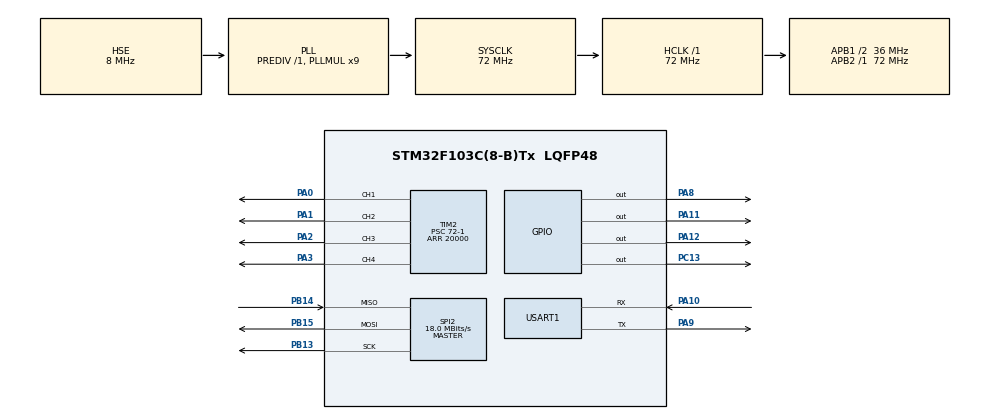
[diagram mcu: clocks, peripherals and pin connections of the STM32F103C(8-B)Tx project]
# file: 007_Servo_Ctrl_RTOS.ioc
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FREERTOS.Queues01=UART2PWM,16,uint16_t,0,Dynamic,NULL,NULL
FREERTOS.Tasks01=defaultTask,0,128,StartDefaultTask,Default,NULL,Dynamic,NULL,NULL;UART_Task,0,128,Start_UART_Task,Default,NULL,Dynamic,NULL,NULL;Servo_Task,2,128,Start_Servo_Task,Default,NULL,Dynamic,NULL,NULL
Mcu.Family=STM32F1
Mcu.Name=STM32F103C(8-B)Tx
Mcu.Package=LQFP48
NVIC.PriorityGroup=NVIC_PRIORITYGROUP_4
NVIC.TIM1_UP_IRQn=true\:15\:0\:false\:false\:true\:false\:false\:true\:true
NVIC.TimeBase=TIM1_UP_IRQn
NVIC.TimeBaseIP=TIM1
NVIC.USART1_IRQn=true\:5\:0\:false\:false\:true\:true\:true\:true\:true
PA0-WKUP.Signal=S_TIM2_CH1_ETR
PA1.Signal=S_TIM2_CH2
PA10.Mode=Asynchronous
PA10.Signal=USART1_RX
PA11.Signal=GPIO_Output
PA12.Signal=GPIO_Output
PA13.Mode=Serial_Wire
PA13.Signal=SYS_JTMS-SWDIO
PA14.Mode=Serial_Wire
PA14.Signal=SYS_JTCK-SWCLK
PA2.Signal=S_TIM2_CH3
PA3.Signal=S_TIM2_CH4
PA8.Signal=GPIO_Output
PA9.Mode=Asynchronous
PA9.Signal=USART1_TX
PB13.Mode=Full_Duplex_Master
PB13.Signal=SPI2_SCK
PB14.Mode=Full_Duplex_Master
PB14.Signal=SPI2_MISO
PB15.Mode=Full_Duplex_Master
PB15.Signal=SPI2_MOSI
PC13-TAMPER-RTC.Signal=GPIO_Output
PD0-OSC_IN.Mode=HSE-External-Oscillator
PD0-OSC_IN.Signal=RCC_OSC_IN
PD1-OSC_OUT.Mode=HSE-External-Oscillator
PD1-OSC_OUT.Signal=RCC_OSC_OUT
ProjectManager.HeapSize=0x200
ProjectManager.StackSize=0x400
ProjectManager.TargetToolchain=MDK-ARM V5.32
RCC.AHBFreq_Value=72000000
RCC.APB1CLKDivider=RCC_HCLK_DIV2
RCC.APB1Freq_Value=36000000
RCC.APB1TimFreq_Value=72000000
RCC.APB2Freq_Value=72000000
RCC.APB2TimFreq_Value=72000000
RCC.HCLKFreq_Value=72000000
RCC.PLLMUL=RCC_PLL_MUL9
RCC.PLLSourceVirtual=RCC_PLLSOURCE_HSE
RCC.SYSCLKFreq_VALUE=72000000
RCC.SYSCLKSource=RCC_SYSCLKSOURCE_PLLCLK
RCC.USBFreq_Value=72000000
SH.S_TIM2_CH1_ETR.0=TIM2_CH1,PWM Generation1 CH1
SH.S_TIM2_CH2.0=TIM2_CH2,PWM Generation2 CH2
SH.S_TIM2_CH3.0=TIM2_CH3,PWM Generation3 CH3
SH.S_TIM2_CH4.0=TIM2_CH4,PWM Generation4 CH4
SPI2.CalculateBaudRate=18.0 MBits/s
SPI2.Direction=SPI_DIRECTION_2LINES
SPI2.Mode=SPI_MODE_MASTER
SPI2.VirtualType=VM_MASTER
TIM2.Channel-PWM\ Generation1\ CH1=TIM_CHANNEL_1
TIM2.Channel-PWM\ Generation2\ CH2=TIM_CHANNEL_2
TIM2.Channel-PWM\ Generation3\ CH3=TIM_CHANNEL_3
TIM2.Channel-PWM\ Generation4\ CH4=TIM_CHANNEL_4
TIM2.Period=20000
TIM2.Prescaler=72-1
USART1.VirtualMode=VM_ASYNC
VP_FREERTOS_VS_CMSIS_V1.Mode=CMSIS_V1
VP_SYS_VS_tim1.Mode=TIM1
board=custom

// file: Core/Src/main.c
/* USER CODE BEGIN Header */
/**
  ******************************************************************************
  * @file           : main.c
  * @brief          : Main program body
  ******************************************************************************
  * @attention
  *
  * Copyright (c) 2023 STMicroelectronics.
  * All rights reserved.
  *
  * This software is licensed under terms that can be found in the LICENSE file
  * in the root directory of this software component.
  * If no LICENSE file comes with this software, it is provided AS-IS.
  *
  ******************************************************************************
  */
/* USER CODE END Header */
#include "main.h"
#include "cmsis_os.h"
#include "spi.h"
#include "tim.h"
#include "usart.h"
#include "gpio.h"

/* USER CODE BEGIN Includes */
#include <servo.h>
#include <nrf24l01.h>
/* USER CODE END Includes */

void SystemClock_Config(void);
void MX_FREERTOS_Init(void);

/* USER CODE BEGIN 0 */
uint8_t servos[14];
/* USER CODE END 0 */

int main(void)
{

  /* MCU Configuration--------------------------------------------------------*/

  /* Reset of all peripherals, Initializes the Flash interface and the Systick. */
  HAL_Init();

  /* Configure the system clock */
  SystemClock_Config();

  /* Initialize all configured peripherals */
  MX_GPIO_Init();
  MX_TIM2_Init();
  MX_USART1_UART_Init();
  MX_SPI2_Init();
  /* USER CODE BEGIN 2 */

	NRF24L01_Init();

	NRF24L01_RX_Mode();

	HAL_TIM_PWM_Start (&htim2,TIM_CHANNEL_1);
	HAL_TIM_PWM_Start (&htim2,TIM_CHANNEL_2);
	HAL_TIM_PWM_Start (&htim2,TIM_CHANNEL_3);
	HAL_TIM_PWM_Start (&htim2,TIM_CHANNEL_4);

	Servo_init();

	HAL_UART_Receive_IT(&huart1, servos,14);
  /* USER CODE END 2 */

  /* Call init function for freertos objects (in freertos.c) */
  MX_FREERTOS_Init();

  /* Start scheduler */
  osKernelStart();
  /* We should never get here as control is now taken by the scheduler */
  /* Infinite loop */
  while (1)
  {

  }
}

void SystemClock_Config(void)
{
  RCC_OscInitTypeDef RCC_OscInitStruct = {0};
  RCC_ClkInitTypeDef RCC_ClkInitStruct = {0};

  /** Initializes the RCC Oscillators according to the specified parameters
  * in the RCC_OscInitTypeDef structure.
  */
  RCC_OscInitStruct.OscillatorType = RCC_OSCILLATORTYPE_HSE;
  RCC_OscInitStruct.HSEState = RCC_HSE_ON;
  RCC_OscInitStruct.HSEPredivValue = RCC_HSE_PREDIV_DIV1;
  RCC_OscInitStruct.HSIState = RCC_HSI_ON;
  RCC_OscInitStruct.PLL.PLLState = RCC_PLL_ON;
  RCC_OscInitStruct.PLL.PLLSource = RCC_PLLSOURCE_HSE;
  RCC_OscInitStruct.PLL.PLLMUL = RCC_PLL_MUL9;
  if (HAL_RCC_OscConfig(&RCC_OscInitStruct) != HAL_OK)
  {
    Error_Handler();
  }

  /** Initializes the CPU, AHB and APB buses clocks
  */
  RCC_ClkInitStruct.ClockType = RCC_CLOCKTYPE_HCLK|RCC_CLOCKTYPE_SYSCLK
                              |RCC_CLOCKTYPE_PCLK1|RCC_CLOCKTYPE_PCLK2;
  RCC_ClkInitStruct.SYSCLKSource = RCC_SYSCLKSOURCE_PLLCLK;
  RCC_ClkInitStruct.AHBCLKDivider = RCC_SYSCLK_DIV1;
  RCC_ClkInitStruct.APB1CLKDivider = RCC_HCLK_DIV2;
  RCC_ClkInitStruct.APB2CLKDivider = RCC_HCLK_DIV1;

  if (HAL_RCC_ClockConfig(&RCC_ClkInitStruct, FLASH_LATENCY_2) != HAL_OK)
  {
    Error_Handler();
  }
}

void HAL_TIM_PeriodElapsedCallback(TIM_HandleTypeDef *htim)
{
  if (htim->Instance == TIM1) {
    HAL_IncTick();
  }
}

void Error_Handler(void)
{
  __disable_irq();
  while (1)
  {
  }
}

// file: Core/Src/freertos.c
/* USER CODE BEGIN Header */
/**
  ******************************************************************************
  * File Name          : freertos.c
  * Description        : Code for freertos applications
  ******************************************************************************
  * @attention
  *
  * Copyright (c) 2023 STMicroelectronics.
  * All rights reserved.
  *
  * This software is licensed under terms that can be found in the LICENSE file
  * in the root directory of this software component.
  * If no LICENSE file comes with this software, it is provided AS-IS.
  *
  ******************************************************************************
  */
/* USER CODE END Header */

#include "FreeRTOS.h"
#include "task.h"
#include "main.h"
#include "cmsis_os.h"

/* USER CODE BEGIN Includes */
#include "servo.h"
#include "nrf24l01.h"
#include "string.h"
/* USER CODE END Includes */

/* USER CODE BEGIN PM */
uint8_t tmp_buf[33];

typedef struct{

	uint16_t rocker[3];
	uint8_t button;
	int16_t pitch;
	int16_t yaw;
	uint8_t servos[14];
	uint8_t reserve[8];

}remote_Rx_t ;

remote_Rx_t remote;
/* USER CODE END PM */

/* USER CODE BEGIN Variables */
extern uint8_t servos[14];
/* USER CODE END Variables */
osThreadId defaultTaskHandle;
osThreadId UART_TaskHandle;
osThreadId Servo_TaskHandle;
osMessageQId UART2PWMHandle;

void StartDefaultTask(void const * argument);
void Start_UART_Task(void const * argument);
void Start_Servo_Task(void const * argument);

void MX_FREERTOS_Init(void); /* (MISRA C 2004 rule 8.1) */

/* GetIdleTaskMemory prototype (linked to static allocation support) */
void vApplicationGetIdleTaskMemory( StaticTask_t **ppxIdleTaskTCBBuffer, StackType_t **ppxIdleTaskStackBuffer, uint32_t *pulIdleTaskStackSize );

/* USER CODE BEGIN GET_IDLE_TASK_MEMORY */
static StaticTask_t xIdleTaskTCBBuffer;
static StackType_t xIdleStack[configMINIMAL_STACK_SIZE];

void vApplicationGetIdleTaskMemory( StaticTask_t **ppxIdleTaskTCBBuffer, StackType_t **ppxIdleTaskStackBuffer, uint32_t *pulIdleTaskStackSize )
{
  *ppxIdleTaskTCBBuffer = &xIdleTaskTCBBuffer;
  *ppxIdleTaskStackBuffer = &xIdleStack[0];
  *pulIdleTaskStackSize = configMINIMAL_STACK_SIZE;
  /* place for user code */
}
/* USER CODE END GET_IDLE_TASK_MEMORY */

void MX_FREERTOS_Init(void) {

  /* Create the queue(s) */
  /* definition and creation of UART2PWM */
  osMessageQDef(UART2PWM, 16, uint16_t);
  UART2PWMHandle = osMessageCreate(osMessageQ(UART2PWM), NULL);

  /* Create the thread(s) */
  /* definition and creation of defaultTask */
  osThreadDef(defaultTask, StartDefaultTask, osPriorityNormal, 0, 128);
  defaultTaskHandle = osThreadCreate(osThread(defaultTask), NULL);

  /* definition and creation of UART_Task */
  osThreadDef(UART_Task, Start_UART_Task, osPriorityNormal, 0, 128);
  UART_TaskHandle = osThreadCreate(osThread(UART_Task), NULL);

  /* definition and creation of Servo_Task */
  osThreadDef(Servo_Task, Start_Servo_Task, osPriorityHigh, 0, 128);
  Servo_TaskHandle = osThreadCreate(osThread(Servo_Task), NULL);

}

void StartDefaultTask(void const * argument)
{
  for(;;)
  {
    osDelay(1);
  }
}

void Start_UART_Task(void const * argument)
{
  for(;;)
  {
    osDelay(1);
  }
}

void Start_Servo_Task(void const * argument) //接收端
{
  /* USER CODE BEGIN Start_Servo_Task */
  /* Infinite loop */
  for(;;)
  {
		static uint8_t i;
			if(NRF24L01_RxPacket(tmp_buf)==0) //nrf数据接收
    {
      tmp_buf[32]=0;//加入字符串结束符
      printf("NRF24L01无线模块数据接收成功：\r\n");
			for(i=0;i<33;i++)
				printf("%u ",tmp_buf[i]);
			printf("\r\n"); //串口打印接收到的数据

			memcpy(&remote,tmp_buf,sizeof(tmp_buf));
			memcpy(servos,&remote.servos,14);

			Servo_data_rec();
			Servo_calc();
    }

		 HAL_GPIO_TogglePin(GPIOC,GPIO_PIN_13);

    osDelay(48);
  }
  /* USER CODE END Start_Servo_Task */
}

/* USER CODE BEGIN Application */

void HAL_UART_RxCpltCallback(UART_HandleTypeDef *huart)//串口接收完成回调函数
{
	if(huart->Instance == USART1)
	{
	  Servo_data_rec();
		Servo_calc();
		HAL_UART_Receive_IT(&huart1, servos,14);
	}
}

/* USER CODE END Application */
